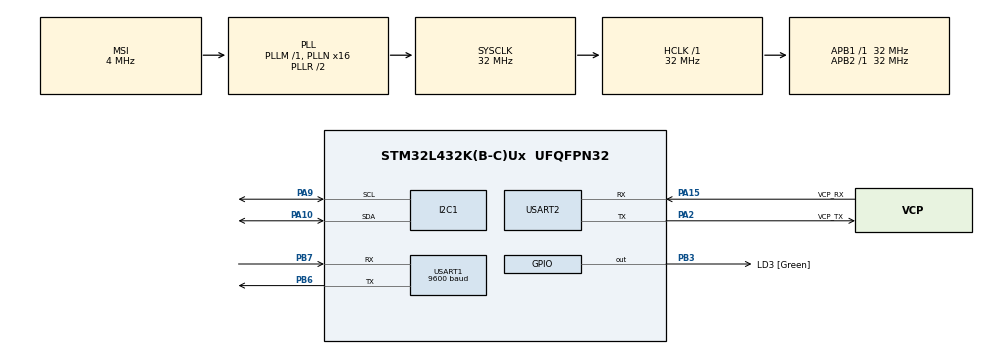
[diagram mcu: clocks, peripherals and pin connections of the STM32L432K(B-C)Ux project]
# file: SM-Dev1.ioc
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I2C1.Timing=0x00B07CB4
Mcu.Family=STM32L4
Mcu.Name=STM32L432K(B-C)Ux
Mcu.Package=UFQFPN32
NVIC.PriorityGroup=NVIC_PRIORITYGROUP_4
PA0.GPIO_Label=MCO [High speed clock in]
PA0.Mode=HSE-External-Clock-Source-for-LittleOrca
PA0.Signal=RCC_CK_IN
PA10.GPIO_Pu=GPIO_PULLUP
PA10.Mode=I2C
PA10.Signal=I2C1_SDA
PA13\ (JTMS-SWDIO).GPIO_Label=SWDIO
PA13\ (JTMS-SWDIO).Mode=Serial_Wire
PA13\ (JTMS-SWDIO).Signal=SYS_JTMS-SWDIO
PA14\ (JTCK-SWCLK).GPIO_Label=SWCLK
PA14\ (JTCK-SWCLK).Mode=Serial_Wire
PA14\ (JTCK-SWCLK).Signal=SYS_JTCK-SWCLK
PA15\ (JTDI).GPIO_Label=VCP_RX
PA15\ (JTDI).Mode=Asynchronous
PA15\ (JTDI).Signal=USART2_RX
PA2.GPIO_Label=VCP_TX
PA2.Mode=Asynchronous
PA2.Signal=USART2_TX
PA9.GPIO_Pu=GPIO_PULLUP
PA9.Mode=I2C
PA9.Signal=I2C1_SCL
PB3\ (JTDO-TRACESWO).GPIO_Label=LD3 [Green]
PB3\ (JTDO-TRACESWO).Signal=GPIO_Output
PB6.Mode=Asynchronous
PB6.Signal=USART1_TX
PB7.Mode=Asynchronous
PB7.Signal=USART1_RX
PC14-OSC32_IN\ (PC14).Mode=LSE-External-Oscillator
PC14-OSC32_IN\ (PC14).Signal=RCC_OSC32_IN
PC15-OSC32_OUT\ (PC15).Mode=LSE-External-Oscillator
PC15-OSC32_OUT\ (PC15).Signal=RCC_OSC32_OUT
ProjectManager.HeapSize=0x200
ProjectManager.StackSize=0x400
ProjectManager.TargetToolchain=STM32CubeIDE
RCC.AHBFreq_Value=32000000
RCC.APB1Freq_Value=32000000
RCC.APB1TimFreq_Value=32000000
RCC.APB2Freq_Value=32000000
RCC.APB2TimFreq_Value=32000000
RCC.CortexFreq_Value=32000000
RCC.HCLKFreq_Value=32000000
RCC.HSE_VALUE=8000000
RCC.HSI16_VALUE=16000000
RCC.HSI48_VALUE=48000000
RCC.HSI_VALUE=16000000
RCC.MSI_VALUE=4000000
RCC.PLLMUL=RCC_PLLMUL_4
RCC.PLLN=16
RCC.SYSCLKFreq_VALUE=32000000
RCC.SYSCLKSource=RCC_SYSCLKSOURCE_PLLCLK
RCC.VCOOutputFreq_Value=64000000
USART1.BaudRate=9600
USART1.VirtualMode-Asynchronous=VM_ASYNC
USART2.VirtualMode-Asynchronous=VM_ASYNC
board=NUCLEO-L432KC

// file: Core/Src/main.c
/* USER CODE BEGIN Header */
/**
  ******************************************************************************
  * @file           : main.c
  * @brief          : Main program body
  ******************************************************************************
  * @attention
  *
  * Copyright (c) 2025 STMicroelectronics.
  * All rights reserved.
  *
  * This software is licensed under terms that can be found in the LICENSE file
  * in the root directory of this software component.
  * If no LICENSE file comes with this software, it is provided AS-IS.
  *
  ******************************************************************************
  */
/* USER CODE END Header */
#include "main.h"

/* USER CODE BEGIN Includes */
#include "i2c_lcd.h"
#include <string.h>
#include <stdio.h>
/* USER CODE END Includes */

I2C_HandleTypeDef hi2c1;

UART_HandleTypeDef huart1;
UART_HandleTypeDef huart2;

/* USER CODE BEGIN PV */
// Wio-E5 Communication buffers
char wio_rx_buffer[256];        // Buffer for receiving data from Wio-E5
char wio_tx_buffer[128];        // Buffer for transmitting data to Wio-E5
uint16_t wio_rx_index = 0;      // Current position in RX buffer
uint8_t wio_response_ready = 0; // Flag indicating response is complete
/* USER CODE END PV */

void SystemClock_Config(void);
static void MX_GPIO_Init(void);
static void MX_USART2_UART_Init(void);
static void MX_I2C1_Init(void);
static void MX_USART1_UART_Init(void);
/* USER CODE BEGIN PFP */
void WioE5_SendCommand(char* cmd);
void WioE5_ReceiveResponse(uint32_t timeout_ms);
void WioE5_ClearBuffer(void);
void LCD_DisplayResponse(char* response);
/* USER CODE END PFP */

int main(void)
{

  /* MCU Configuration--------------------------------------------------------*/

  /* Reset of all peripherals, Initializes the Flash interface and the Systick. */
  HAL_Init();

  /* Configure the system clock */
  SystemClock_Config();

  /* Initialize all configured peripherals */
  MX_GPIO_Init();
  MX_USART2_UART_Init();
  MX_I2C1_Init();
  MX_USART1_UART_Init();
  /* USER CODE BEGIN 2 */

  // Add delay for stable power-up
  HAL_Delay(100);

  // Initialize LCD
  LCD_Init(&hi2c1);
  HAL_Delay(500);  // Give LCD time to initialize

  // Test LCD with simple message first
  LCD_Clear();
  HAL_Delay(100);

  LCD_SetCursor(0, 0);
  LCD_Print("LCD Init OK");
  HAL_Delay(1000);

  // Blink LED to show we're alive
  HAL_GPIO_WritePin(LD3_GPIO_Port, LD3_Pin, GPIO_PIN_SET);
  HAL_Delay(200);
  HAL_GPIO_WritePin(LD3_GPIO_Port, LD3_Pin, GPIO_PIN_RESET);
  HAL_Delay(200);

  // Display startup message
  LCD_Clear();
  HAL_Delay(100);

  LCD_SetCursor(0, 0);
  LCD_Print("Wio-E5 Test");
  HAL_Delay(100);

  LCD_SetCursor(1, 0);
  LCD_Print("Starting...");
  HAL_Delay(2000);

  // ========== TEST 1: Basic AT Command ==========
  // Blink LED before each test
  HAL_GPIO_TogglePin(LD3_GPIO_Port, LD3_Pin);

  LCD_Clear();
  HAL_Delay(50);

  LCD_SetCursor(0, 0);
  LCD_Print("Test 1: AT");
  HAL_Delay(1000);

  // Send AT command
  WioE5_SendCommand("AT");
  HAL_Delay(100);
  WioE5_ReceiveResponse(1000);

  // Show result
  LCD_Clear();
  HAL_Delay(50);

  LCD_SetCursor(0, 0);
  LCD_Print("Response:");
  HAL_Delay(50);

  LCD_SetCursor(1, 0);
  if (strlen(wio_rx_buffer) > 0) {
    LCD_Print("RX OK!");
  } else {
    LCD_Print("No Response");
  }
  HAL_Delay(3000);

  // Display actual response
  LCD_DisplayResponse(wio_rx_buffer);
  HAL_Delay(3000);

  // ========== TEST 2: Get Version ==========
  LCD_Clear();
  LCD_SetCursor(0, 0);
  LCD_Print("Test 2: VER");
  HAL_Delay(1000);

  WioE5_SendCommand("AT+VER");
  WioE5_ReceiveResponse(1000);

  LCD_DisplayResponse(wio_rx_buffer);
  HAL_Delay(3000);

  // ========== TEST 3: Get Device ID ==========
  LCD_Clear();
  LCD_SetCursor(0, 0);
  LCD_Print("Test 3: ID");
  HAL_Delay(1000);

  WioE5_SendCommand("AT+ID");
  WioE5_ReceiveResponse(1000);

  LCD_DisplayResponse(wio_rx_buffer);
  HAL_Delay(3000);

  // ========== TEST 4: Check Current Power ==========
  LCD_Clear();
  LCD_SetCursor(0, 0);
  LCD_Print("Test 4: POWER");
  HAL_Delay(1000);

  WioE5_SendCommand("AT+POWER");
  WioE5_ReceiveResponse(1000);

  LCD_DisplayResponse(wio_rx_buffer);
  HAL_Delay(3000);

  // ========== TEST 5: Set Power to 14 dBm ==========
  LCD_Clear();
  LCD_SetCursor(0, 0);
  LCD_Print("Set Power 14dBm");
  HAL_Delay(1000);

  WioE5_SendCommand("AT+POWER=14");
  WioE5_ReceiveResponse(1000);

  LCD_DisplayResponse(wio_rx_buffer);
  HAL_Delay(3000);

  // ========== TEST 6: Verify Power Setting ==========
  LCD_Clear();
  LCD_SetCursor(0, 0);
  LCD_Print("Verify Power");
  HAL_Delay(1000);

  WioE5_SendCommand("AT+POWER");
  WioE5_ReceiveResponse(1000);

  LCD_DisplayResponse(wio_rx_buffer);
  HAL_Delay(3000);

  // ========== TEST 7: Check Frequency Band ==========
  LCD_Clear();
  LCD_SetCursor(0, 0);
  LCD_Print("Test 7: BAND");
  HAL_Delay(1000);

  WioE5_SendCommand("AT+DR=SCHEME");
  WioE5_ReceiveResponse(1000);

  LCD_DisplayResponse(wio_rx_buffer);
  HAL_Delay(3000);

  // ========== TEST 7B: LoRaWAN Version/Region ==========
  LCD_Clear();
  LCD_SetCursor(0, 0);
  LCD_Print("LoRaWAN Region");
  HAL_Delay(1000);

  WioE5_SendCommand("AT+LW=VER");
  WioE5_ReceiveResponse(1000);

  LCD_DisplayResponse(wio_rx_buffer);
  HAL_Delay(3000);

  // ========== TEST 7C: Check Mode ==========
  LCD_Clear();
  LCD_SetCursor(0, 0);
  LCD_Print("Test 7C: MODE");
  HAL_Delay(1000);

  WioE5_SendCommand("AT+MODE");
  WioE5_ReceiveResponse(1000);

  LCD_DisplayResponse(wio_rx_buffer);
  HAL_Delay(3000);

  // ========== TEST 8: Set to LWOTAA Mode ==========
  LCD_Clear();
  LCD_SetCursor(0, 0);
  LCD_Print("Set LWOTAA Mode");
  HAL_Delay(1000);

  WioE5_SendCommand("AT+MODE=LWOTAA");
  WioE5_ReceiveResponse(1000);

  LCD_DisplayResponse(wio_rx_buffer);
  HAL_Delay(3000);

  // ========== TEST 9: Try JOIN (will fail without config) ==========
  LCD_Clear();
  LCD_SetCursor(0, 0);
  LCD_Print("Test JOIN");
  LCD_SetCursor(1, 0);
  LCD_Print("(May fail)");
  HAL_Delay(2000);

  WioE5_SendCommand("AT+JOIN");
  WioE5_ReceiveResponse(10000);  // Wait up to 10 seconds for join

  LCD_DisplayResponse(wio_rx_buffer);
  HAL_Delay(4000);

  // ========== TEST COMPLETE ==========
  LCD_Clear();
  LCD_SetCursor(0, 0);
  LCD_Print("Test Complete!");
  LCD_SetCursor(1, 0);
  LCD_Print("TX/RX Working");
  HAL_Delay(3000);

  /* USER CODE END 2 */

  /* Infinite loop */
  while (1)
  {

    /* USER CODE BEGIN 3 */

    // Toggle LED to show we're running
    HAL_GPIO_TogglePin(LD3_GPIO_Port, LD3_Pin);

    // Cycle through different test commands

    // Command 1: AT (Communication Check)
    LCD_Clear();
    LCD_SetCursor(0, 0);
    LCD_Print("Loop: AT");
    WioE5_SendCommand("AT");
    WioE5_ReceiveResponse(1000);
    LCD_DisplayResponse(wio_rx_buffer);
    HAL_Delay(3000);

    // Command 2: Check Power Level
    LCD_Clear();
    LCD_SetCursor(0, 0);
    LCD_Print("Loop: POWER");
    WioE5_SendCommand("AT+POWER");
    WioE5_ReceiveResponse(1000);
    LCD_DisplayResponse(wio_rx_buffer);
    HAL_Delay(3000);

    // Command 3: Check Mode
    LCD_Clear();
    LCD_SetCursor(0, 0);
    LCD_Print("Loop: MODE");
    WioE5_SendCommand("AT+MODE");
    WioE5_ReceiveResponse(1000);
    LCD_DisplayResponse(wio_rx_buffer);
    HAL_Delay(3000);

    // Command 4: Check Frequency Band
    LCD_Clear();
    LCD_SetCursor(0, 0);
    LCD_Print("Loop: BAND");
    WioE5_SendCommand("AT+DR=SCHEME");
    WioE5_ReceiveResponse(1000);
    LCD_DisplayResponse(wio_rx_buffer);
    HAL_Delay(3000);

    // Show cycle complete
    LCD_Clear();
    LCD_SetCursor(0, 0);
    LCD_Print("Cycle Complete");
    LCD_SetCursor(1, 0);
    LCD_Print("Restarting...");
    HAL_Delay(2000);
  }
  /* USER CODE END 3 */
}

void SystemClock_Config(void)
{
  RCC_OscInitTypeDef RCC_OscInitStruct = {0};
  RCC_ClkInitTypeDef RCC_ClkInitStruct = {0};

  /** Configure the main internal regulator output voltage
  */
  if (HAL_PWREx_ControlVoltageScaling(PWR_REGULATOR_VOLTAGE_SCALE1) != HAL_OK)
  {
    Error_Handler();
  }

  /** Configure LSE Drive Capability
  */
  HAL_PWR_EnableBkUpAccess();
  __HAL_RCC_LSEDRIVE_CONFIG(RCC_LSEDRIVE_LOW);

  /** Initializes the RCC Oscillators according to the specified parameters
  * in the RCC_OscInitTypeDef structure.
  */
  RCC_OscInitStruct.OscillatorType = RCC_OSCILLATORTYPE_LSE|RCC_OSCILLATORTYPE_MSI;
  RCC_OscInitStruct.LSEState = RCC_LSE_ON;
  RCC_OscInitStruct.MSIState = RCC_MSI_ON;
  RCC_OscInitStruct.MSICalibrationValue = 0;
  RCC_OscInitStruct.MSIClockRange = RCC_MSIRANGE_6;
  RCC_OscInitStruct.PLL.PLLState = RCC_PLL_ON;
  RCC_OscInitStruct.PLL.PLLSource = RCC_PLLSOURCE_MSI;
  RCC_OscInitStruct.PLL.PLLM = 1;
  RCC_OscInitStruct.PLL.PLLN = 16;
  RCC_OscInitStruct.PLL.PLLP = RCC_PLLP_DIV7;
  RCC_OscInitStruct.PLL.PLLQ = RCC_PLLQ_DIV2;
  RCC_OscInitStruct.PLL.PLLR = RCC_PLLR_DIV2;
  if (HAL_RCC_OscConfig(&RCC_OscInitStruct) != HAL_OK)
  {
    Error_Handler();
  }

  /** Initializes the CPU, AHB and APB buses clocks
  */
  RCC_ClkInitStruct.ClockType = RCC_CLOCKTYPE_HCLK|RCC_CLOCKTYPE_SYSCLK
                              |RCC_CLOCKTYPE_PCLK1|RCC_CLOCKTYPE_PCLK2;
  RCC_ClkInitStruct.SYSCLKSource = RCC_SYSCLKSOURCE_PLLCLK;
  RCC_ClkInitStruct.AHBCLKDivider = RCC_SYSCLK_DIV1;
  RCC_ClkInitStruct.APB1CLKDivider = RCC_HCLK_DIV1;
  RCC_ClkInitStruct.APB2CLKDivider = RCC_HCLK_DIV1;

  if (HAL_RCC_ClockConfig(&RCC_ClkInitStruct, FLASH_LATENCY_1) != HAL_OK)
  {
    Error_Handler();
  }

  /** Enable MSI Auto calibration
  */
  HAL_RCCEx_EnableMSIPLLMode();
}

static void MX_I2C1_Init(void)
{

  hi2c1.Instance = I2C1;
  hi2c1.Init.Timing = 0x00B07CB4;
  hi2c1.Init.OwnAddress1 = 0;
  hi2c1.Init.AddressingMode = I2C_ADDRESSINGMODE_7BIT;
  hi2c1.Init.DualAddressMode = I2C_DUALADDRESS_DISABLE;
  hi2c1.Init.OwnAddress2 = 0;
  hi2c1.Init.OwnAddress2Masks = I2C_OA2_NOMASK;
  hi2c1.Init.GeneralCallMode = I2C_GENERALCALL_DISABLE;
  hi2c1.Init.NoStretchMode = I2C_NOSTRETCH_DISABLE;
  if (HAL_I2C_Init(&hi2c1) != HAL_OK)
  {
    Error_Handler();
  }

  /** Configure Analogue filter
  */
  if (HAL_I2CEx_ConfigAnalogFilter(&hi2c1, I2C_ANALOGFILTER_ENABLE) != HAL_OK)
  {
    Error_Handler();
  }

  /** Configure Digital filter
  */
  if (HAL_I2CEx_ConfigDigitalFilter(&hi2c1, 0) != HAL_OK)
  {
    Error_Handler();
  }

}

static void MX_USART1_UART_Init(void)
{

  huart1.Instance = USART1;
  huart1.Init.BaudRate = 9600;
  huart1.Init.WordLength = UART_WORDLENGTH_8B;
  huart1.Init.StopBits = UART_STOPBITS_1;
  huart1.Init.Parity = UART_PARITY_NONE;
  huart1.Init.Mode = UART_MODE_TX_RX;
  huart1.Init.HwFlowCtl = UART_HWCONTROL_NONE;
  huart1.Init.OverSampling = UART_OVERSAMPLING_16;
  huart1.Init.OneBitSampling = UART_ONE_BIT_SAMPLE_DISABLE;
  huart1.AdvancedInit.AdvFeatureInit = UART_ADVFEATURE_NO_INIT;
  if (HAL_UART_Init(&huart1) != HAL_OK)
  {
    Error_Handler();
  }

}

static void MX_USART2_UART_Init(void)
{

  huart2.Instance = USART2;
  huart2.Init.BaudRate = 115200;
  huart2.Init.WordLength = UART_WORDLENGTH_8B;
  huart2.Init.StopBits = UART_STOPBITS_1;
  huart2.Init.Parity = UART_PARITY_NONE;
  huart2.Init.Mode = UART_MODE_TX_RX;
  huart2.Init.HwFlowCtl = UART_HWCONTROL_NONE;
  huart2.Init.OverSampling = UART_OVERSAMPLING_16;
  huart2.Init.OneBitSampling = UART_ONE_BIT_SAMPLE_DISABLE;
  huart2.AdvancedInit.AdvFeatureInit = UART_ADVFEATURE_NO_INIT;
  if (HAL_UART_Init(&huart2) != HAL_OK)
  {
    Error_Handler();
  }

}

static void MX_GPIO_Init(void)
{
  GPIO_InitTypeDef GPIO_InitStruct = {0};

  /* GPIO Ports Clock Enable */
  __HAL_RCC_GPIOC_CLK_ENABLE();
  __HAL_RCC_GPIOA_CLK_ENABLE();
  __HAL_RCC_GPIOB_CLK_ENABLE();

  /*Configure GPIO pin Output Level */
  HAL_GPIO_WritePin(LD3_GPIO_Port, LD3_Pin, GPIO_PIN_RESET);

  /*Configure GPIO pin : LD3_Pin */
  GPIO_InitStruct.Pin = LD3_Pin;
  GPIO_InitStruct.Mode = GPIO_MODE_OUTPUT_PP;
  GPIO_InitStruct.Pull = GPIO_NOPULL;
  GPIO_InitStruct.Speed = GPIO_SPEED_FREQ_LOW;
  HAL_GPIO_Init(LD3_GPIO_Port, &GPIO_InitStruct);

}

/* USER CODE BEGIN 4 */

/**
  * @brief  Send AT command to Wio-E5 module
  * @param  cmd: AT command string (without \r\n)
  * @retval None
  */
void WioE5_SendCommand(char* cmd)
{
    // Clear previous response
    WioE5_ClearBuffer();

    // Prepare command with CR+LF
    sprintf(wio_tx_buffer, "%s\r\n", cmd);

    // Send command via UART1
    HAL_UART_Transmit(&huart1, (uint8_t*)wio_tx_buffer, strlen(wio_tx_buffer), 1000);

    // Small delay to ensure command is sent
    HAL_Delay(10);
}

/**
  * @brief  Receive response from Wio-E5 module
  * @param  timeout_ms: Timeout in milliseconds
  * @retval None
  */
void WioE5_ReceiveResponse(uint32_t timeout_ms)
{
    uint8_t rx_byte;
    uint32_t start_tick = HAL_GetTick();

    wio_response_ready = 0;

    while ((HAL_GetTick() - start_tick) < timeout_ms)
    {
        // Try to receive one byte
        if (HAL_UART_Receive(&huart1, &rx_byte, 1, 10) == HAL_OK)
        {
            // Store byte in buffer
            if (wio_rx_index < sizeof(wio_rx_buffer) - 1)
            {
                wio_rx_buffer[wio_rx_index++] = rx_byte;

                // Check for end of response (usually ends with \r\n or OK/ERROR)
                if (rx_byte == '\n')
                {
                    // Null terminate
                    wio_rx_buffer[wio_rx_index] = '\0';
                    wio_response_ready = 1;

                    // Check if we got a complete response (OK or ERROR)
                    if (strstr(wio_rx_buffer, "OK") ||
                        strstr(wio_rx_buffer, "ERROR") ||
                        strstr(wio_rx_buffer, "+"))
                    {
                        // Wait a bit more for any additional data
                        HAL_Delay(50);
                        break;
                    }
                }
            }
        }
    }

    // Ensure null termination
    wio_rx_buffer[wio_rx_index] = '\0';
}

/**
  * @brief  Clear Wio-E5 receive buffer
  * @retval None
  */
void WioE5_ClearBuffer(void)
{
    memset(wio_rx_buffer, 0, sizeof(wio_rx_buffer));
    memset(wio_tx_buffer, 0, sizeof(wio_tx_buffer));
    wio_rx_index = 0;
    wio_response_ready = 0;
}

/**
  * @brief  Display Wio-E5 response on LCD (parse and format)
  * @param  response: Response string from Wio-E5
  * @retval None
  */
void LCD_DisplayResponse(char* response)
{
    char line1[17] = {0};
    char line2[17] = {0};
    int len;

    LCD_Clear();

    // Parse response - remove \r\n and format for 16x2 display
    if (strlen(response) == 0)
    {
        LCD_SetCursor(0, 0);
        LCD_Print("No Response");
        return;
    }

    // Copy and clean up response
    char cleaned[256] = {0};
    int clean_idx = 0;

    for (int i = 0; i < strlen(response) && clean_idx < 255; i++)
    {
        if (response[i] != '\r' && response[i] != '\n')
        {
            cleaned[clean_idx++] = response[i];
        }
        else if (clean_idx > 0 && cleaned[clean_idx-1] != ' ')
        {
            cleaned[clean_idx++] = ' '; // Replace newlines with space
        }
    }
    cleaned[clean_idx] = '\0';

    // Display first 16 chars on line 1
    len = strlen(cleaned);
    if (len > 0)
    {
        strncpy(line1, cleaned, 16);
        line1[16] = '\0';
        LCD_SetCursor(0, 0);
        LCD_Print(line1);
    }

    // Display next 16 chars on line 2
    if (len > 16)
    {
        strncpy(line2, cleaned + 16, 16);
        line2[16] = '\0';
        LCD_SetCursor(1, 0);
        LCD_Print(line2);
    }
}

/* USER CODE END 4 */

void Error_Handler(void)
{
  __disable_irq();
  while (1)
  {
  }
}
